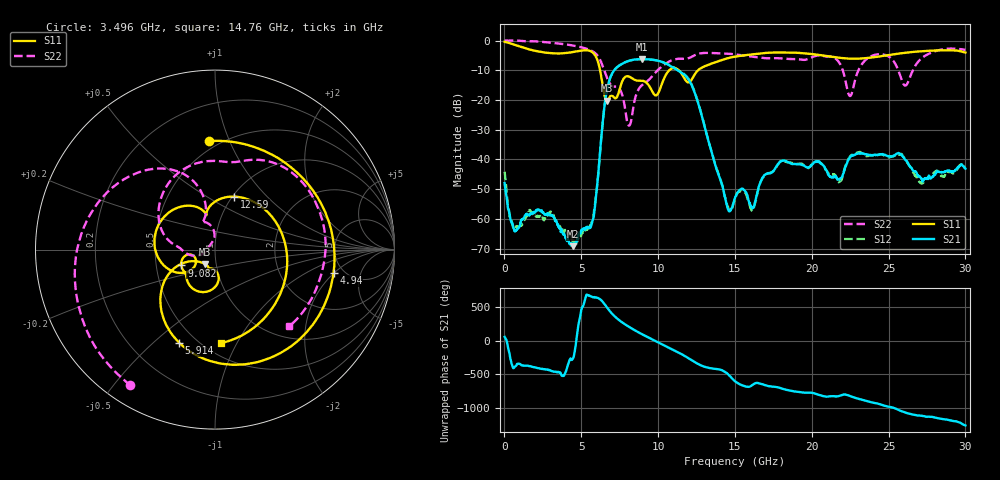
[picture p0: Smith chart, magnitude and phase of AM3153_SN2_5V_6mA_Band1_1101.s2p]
!Agilent Technologies,E8364B,MY43040894,A.07.50.67
!Agilent E8364B: A.07.50.67
!Date: Tuesday, May 12, 2020 09:46:36
!Correction: S11(Full 2 Port(1,2))
!S21(Full 2 Port(1,2))
!S12(Full 2 Port(1,2))
!S22(Full 2 Port(1,2))
!S2P File: Measurements: S11, S21, S12, S22:
# Hz S  dB  R 50
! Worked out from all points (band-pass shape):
!   1601 points, 10 MHz to 30 GHz, reference 50 ohm
!   highest |S21| = -6.25 dB at 8.951 GHz (marker M1); lowest = -69.2 dB at 4.471 GHz (marker M2)
!   |S21| within 3 dB of the highest: 7.269 GHz to 11.03 GHz (3.763 GHz wide, 41.1 % of centre)
!   lowest |S11| = -20.2 dB at 6.664 GHz (marker M3), VSWR 1.22, Z = 44.3 - j7.26 ohm
!   |S11| at or under -10 dB: 6.222 GHz to 10.73 GHz (4.504 GHz wide, 53.1 % of centre); 11.34 GHz to 12.6 GHz (1.257 GHz wide, 10.5 % of centre)
!   |S22| runs from -28.7 to 0.0 dB; largest |S21 - S12| = 0.011
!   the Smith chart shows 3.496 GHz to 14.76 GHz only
!   S11 on the Smith chart (normalised r, x): 3.496 GHz: 0.44, +0.85; 4.94 GHz: 4.14, -1.97; 5.914 GHz: 0.40, -0.61; 9.082 GHz: 0.67, -0.12; 12.59 GHz: 1.02, +0.67; 14.76 GHz: 0.61, -0.87
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1e7  -0.43 -7.4  -47.97 60.4  -44.11 -132.2  0.00 -2.0
6.098e8  -1.33 -62.8  -63.22 -42.7  -63.07 -112.3  0.03 -21.1
1.734425e9  -3.15 -153.8  -58.17 -20.1  -57.64 -23.0  -0.23 -60.8
3.496338e9  -4.35 92.9  -62.64 -102.4  -62.00 -130.5  -1.00 -122.0
4.471012e9  -3.85 25.8  -69.20 101.7  -67.56 0.2  -1.70 -157.5
4.939606e9  -3.44 -11.1  -64.32 19.6  -65.38 49.7  -2.18 -176.2
5.014581e9  -3.38 -17.4  -63.67 111.0  -65.23 2.1  -2.27 -179.4
5.914281e9  -5.10 -111.0  -54.57 -70.4  -53.99 -72.0  -4.29 135.7
6.664031e9  -20.20 -123.8  -16.85 140.1  -16.81 140.2  -12.39 102.3
8.1073e9  -12.12 -122.4  -6.82 -151.3  -6.82 -151.2  -28.65 146.0
8.950769e9  -13.51 -149.5  -6.25 99.5  -6.28 99.9  -15.01 -177.5
9.081975e9  -13.66 -154.7  -6.27 84.0  -6.29 84.3  -14.49 179.2
1.001916e10  -17.58 -144.2  -6.81 -24.2  -6.83 -23.4  -9.75 158.2
1.258706e10  -10.08 70.2  -20.70 17.8  -20.51 16.8  -4.51 51.3
1.476133e10  -5.66 -86.1  -56.56 173.6  -56.79 167.9  -4.51 -45.9
1.5005e10  -5.42 -97.3  -53.01 118.7  -53.15 111.8  -4.65 -56.4
1.798526e10  -4.01 158.1  -40.65 15.7  -40.61 17.5  -5.99 -179.0
2.000958e10  -4.55 86.7  -41.81 -52.6  -41.71 -55.3  -5.61 44.6
2.135913e10  -5.50 29.4  -46.06 -103.9  -45.10 -102.9  -5.48 -79.4
2.248376e10  -6.11 -24.9  -39.30 -100.5  -39.07 -98.8  -18.66 -114.0
2.501416e10  -4.90 -139.0  -38.92 98.9  -39.33 100.7  -5.40 163.7
3e10  -4.03 80.6  -43.11 -179.7  -42.07 -179.4  -3.12 94.4
